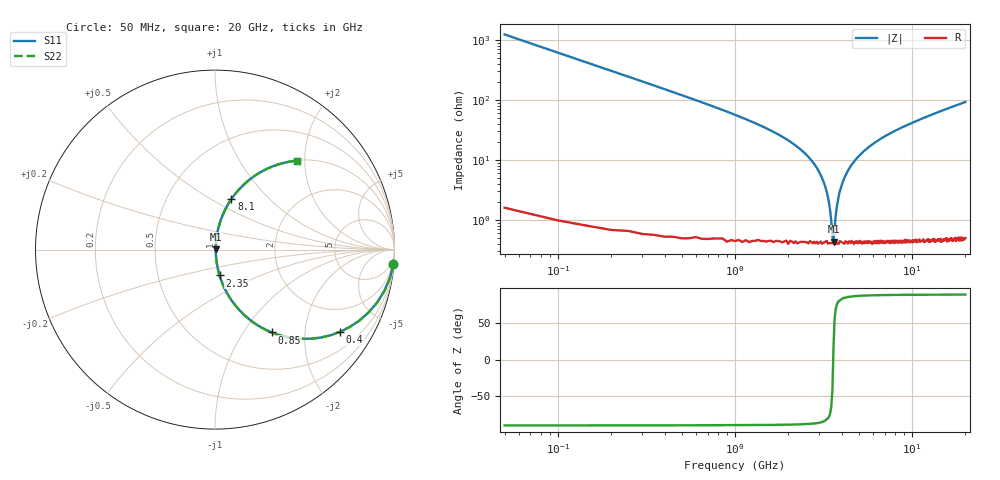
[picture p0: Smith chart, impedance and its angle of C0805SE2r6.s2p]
! AVX Thin Film Operation		Date: April 2012
! Description: Accu-P® Series, Thin Film, SMD, RF Capacitor
! Part Number: 08051J2R6QBTTR
!	100	MHz	-	20.05	GHz
!	Serial	Measurements
#	MHZ	S	MA	R	50
!	S11	S21	S12	S22
!	dB	Phase	dB	Phase	dB	Phase	dB	Phase
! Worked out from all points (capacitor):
!   400 points, 50 MHz to 20 GHz, reference 50 ohm
!   read as one part in series: C = 2.6 pF near 150 MHz
!   lowest |Z| = 432 mohm at 3.6 GHz (marker M1)
!   series resonance near 3.586 GHz, so ESL is about 760 pH
!   S11 on the Smith chart (normalised r, x): 50 MHz: 1, -24; 400 MHz: 1.01, -3.02; 850 MHz: 1.01, -1.36; 2.35 GHz: 1.01, -0.30; 8.1 GHz: 1.01, +0.62; 20 GHz: 1.01, +1.84
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50  0.997 -4.7  0.081 85.3  0.081 85.3  0.997 -4.7
100  0.987 -9.3  0.161 80.6  0.161 80.6  0.987 -9.3
150  0.971 -13.8  0.238 76.1  0.238 76.1  0.971 -13.8
400  0.833 -33.4  0.551 56.4  0.551 56.4  0.833 -33.4
850  0.56 -55.5  0.824 34.1  0.824 34.1  0.56 -55.5
1400  0.346 -69.1  0.934 20.3  0.934 20.3  0.346 -69.1
2350  0.146 -79.9  0.985 8.4  0.985 8.4  0.146 -79.9
3000  0.061 -82.6  0.994 3.5  0.994 3.5  0.061 -82.6
3250  0.034 -80.9  0.995 1.9  0.995 1.9  0.034 -80.9
3400  0.019 -75.9  0.996 1.0  0.996 1.0  0.019 -75.9
3550  0.005412 -39.0  0.996 0.2  0.996 0.2  0.005412 -39.0
3600  0.004398 17.6  0.996 -0.1  0.996 -0.1  0.004398 17.6
3750  0.016 73.7  0.996 -0.9  0.996 -0.9  0.016 73.7
3850  0.025 78.8  0.996 -1.4  0.996 -1.4  0.025 78.8
4300  0.062 82.6  0.994 -3.6  0.994 -3.6  0.062 82.6
5250  0.132 80.6  0.987 -7.6  0.987 -7.6  0.132 80.6
6700  0.221 76.2  0.971 -12.8  0.971 -12.8  0.221 76.2
8100  0.295 72.0  0.951 -17.2  0.951 -17.2  0.295 72.0
10050  0.384 66.8  0.919 -22.6  0.919 -22.6  0.384 66.8
13350  0.506 59.1  0.858 -30.4  0.858 -30.4  0.506 59.1
16700  0.602 52.6  0.794 -37.0  0.794 -37.0  0.602 52.6
20000  0.676 47.2  0.733 -42.5  0.733 -42.5  0.676 47.2
